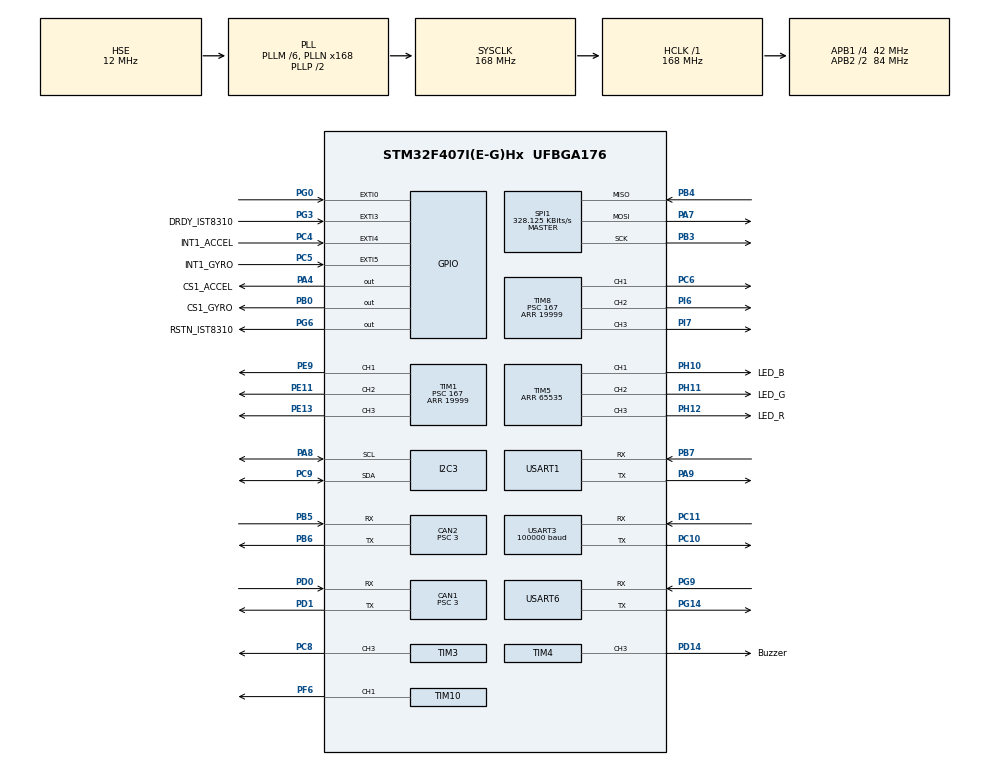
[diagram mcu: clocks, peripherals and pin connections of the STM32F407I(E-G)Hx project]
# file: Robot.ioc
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CAN1.BS1=CAN_BS1_10TQ
CAN1.BS2=CAN_BS2_3TQ
CAN1.CalculateBaudRate=1000000
CAN1.CalculateTimeBit=1000
CAN1.CalculateTimeQuantum=71.42857142857143
CAN1.Prescaler=3
CAN2.BS1=CAN_BS1_10TQ
CAN2.BS2=CAN_BS2_3TQ
CAN2.CalculateBaudRate=1000000
CAN2.CalculateTimeBit=1000
CAN2.CalculateTimeQuantum=71.42857142857143
CAN2.Prescaler=3
Dma.Request0=USART3_RX
Dma.Request1=SPI1_RX
Dma.Request2=SPI1_TX
Dma.Request3=USART6_RX
Dma.Request4=USART6_TX
Dma.SPI1_RX.1.Direction=DMA_PERIPH_TO_MEMORY
Dma.SPI1_RX.1.FIFOMode=DMA_FIFOMODE_DISABLE
Dma.SPI1_RX.1.Instance=DMA2_Stream2
Dma.SPI1_RX.1.MemDataAlignment=DMA_MDATAALIGN_BYTE
Dma.SPI1_RX.1.MemInc=DMA_MINC_ENABLE
Dma.SPI1_RX.1.Mode=DMA_NORMAL
Dma.SPI1_RX.1.PeriphDataAlignment=DMA_PDATAALIGN_BYTE
Dma.SPI1_RX.1.PeriphInc=DMA_PINC_DISABLE
Dma.SPI1_RX.1.Priority=DMA_PRIORITY_VERY_HIGH
Dma.SPI1_TX.2.Direction=DMA_MEMORY_TO_PERIPH
Dma.SPI1_TX.2.FIFOMode=DMA_FIFOMODE_DISABLE
Dma.SPI1_TX.2.Instance=DMA2_Stream3
Dma.SPI1_TX.2.MemDataAlignment=DMA_MDATAALIGN_BYTE
Dma.SPI1_TX.2.MemInc=DMA_MINC_ENABLE
Dma.SPI1_TX.2.Mode=DMA_NORMAL
Dma.SPI1_TX.2.PeriphDataAlignment=DMA_PDATAALIGN_BYTE
Dma.SPI1_TX.2.PeriphInc=DMA_PINC_DISABLE
Dma.SPI1_TX.2.Priority=DMA_PRIORITY_HIGH
Dma.USART3_RX.0.Direction=DMA_PERIPH_TO_MEMORY
Dma.USART3_RX.0.FIFOMode=DMA_FIFOMODE_DISABLE
Dma.USART3_RX.0.Instance=DMA1_Stream1
Dma.USART3_RX.0.MemDataAlignment=DMA_MDATAALIGN_BYTE
Dma.USART3_RX.0.MemInc=DMA_MINC_ENABLE
Dma.USART3_RX.0.Mode=DMA_CIRCULAR
Dma.USART3_RX.0.PeriphDataAlignment=DMA_PDATAALIGN_BYTE
Dma.USART3_RX.0.PeriphInc=DMA_PINC_DISABLE
Dma.USART3_RX.0.Priority=DMA_PRIORITY_VERY_HIGH
Dma.USART6_RX.3.Direction=DMA_PERIPH_TO_MEMORY
Dma.USART6_RX.3.FIFOMode=DMA_FIFOMODE_DISABLE
Dma.USART6_RX.3.Instance=DMA2_Stream1
Dma.USART6_RX.3.MemDataAlignment=DMA_MDATAALIGN_BYTE
Dma.USART6_RX.3.MemInc=DMA_MINC_ENABLE
Dma.USART6_RX.3.Mode=DMA_NORMAL
Dma.USART6_RX.3.PeriphDataAlignment=DMA_PDATAALIGN_BYTE
Dma.USART6_RX.3.PeriphInc=DMA_PINC_DISABLE
Dma.USART6_RX.3.Priority=DMA_PRIORITY_HIGH
Dma.USART6_TX.4.Direction=DMA_MEMORY_TO_PERIPH
Dma.USART6_TX.4.FIFOMode=DMA_FIFOMODE_DISABLE
Dma.USART6_TX.4.Instance=DMA2_Stream6
Dma.USART6_TX.4.MemDataAlignment=DMA_MDATAALIGN_BYTE
Dma.USART6_TX.4.MemInc=DMA_MINC_ENABLE
Dma.USART6_TX.4.Mode=DMA_NORMAL
Dma.USART6_TX.4.PeriphDataAlignment=DMA_PDATAALIGN_BYTE
Dma.USART6_TX.4.PeriphInc=DMA_PINC_DISABLE
Dma.USART6_TX.4.Priority=DMA_PRIORITY_MEDIUM
FREERTOS.INCLUDE_eTaskGetState=1
FREERTOS.INCLUDE_pcTaskGetTaskName=1
FREERTOS.INCLUDE_uxTaskGetStackHighWaterMark=1
FREERTOS.INCLUDE_uxTaskGetStackHighWaterMark2=1
FREERTOS.INCLUDE_vTaskCleanUpResources=1
FREERTOS.INCLUDE_vTaskDelayUntil=1
FREERTOS.INCLUDE_xQueueGetMutexHolder=1
FREERTOS.INCLUDE_xSemaphoreGetMutexHolder=1
FREERTOS.INCLUDE_xTaskAbortDelay=1
FREERTOS.INCLUDE_xTaskGetCurrentTaskHandle=1
FREERTOS.INCLUDE_xTaskGetHandle=1
FREERTOS.Tasks01=defaultTask,0,128,default_task,As weak,NULL,Dynamic,NULL,NULL;insTask,3,1024,ins_task,As weak,NULL,Dynamic,NULL,NULL;PID_TASK,2,1024,pid_comtrol_task,As external,NULL,Dynamic,NULL,NULL
I2C3.I2C_Mode=I2C_Fast
Mcu.Family=STM32F4
Mcu.Name=STM32F407I(E-G)Hx
Mcu.Package=UFBGA176
NVIC.CAN1_RX0_IRQn=true\:5\:0\:false\:false\:true\:true\:true\:true\:true
NVIC.CAN2_RX0_IRQn=true\:5\:0\:false\:false\:true\:true\:true\:true\:true
NVIC.DMA1_Stream1_IRQn=true\:5\:0\:false\:false\:false\:true\:false\:true\:true
NVIC.DMA2_Stream1_IRQn=true\:5\:0\:false\:false\:true\:true\:false\:true\:true
NVIC.DMA2_Stream2_IRQn=true\:5\:0\:false\:false\:false\:false\:false\:true\:true
NVIC.DMA2_Stream3_IRQn=true\:5\:0\:false\:false\:false\:true\:false\:true\:true
NVIC.DMA2_Stream6_IRQn=true\:5\:0\:false\:false\:true\:true\:false\:true\:true
NVIC.EXTI0_IRQn=true\:5\:0\:false\:false\:true\:true\:true\:true\:true
NVIC.EXTI3_IRQn=true\:5\:0\:false\:false\:true\:true\:true\:true\:true
NVIC.EXTI4_IRQn=true\:5\:0\:false\:false\:true\:true\:true\:true\:true
NVIC.EXTI9_5_IRQn=true\:5\:0\:false\:false\:true\:true\:true\:true\:true
NVIC.PriorityGroup=NVIC_PRIORITYGROUP_4
NVIC.TIM8_TRG_COM_TIM14_IRQn=true\:15\:0\:false\:false\:true\:false\:false\:true\:true
NVIC.TimeBase=TIM8_TRG_COM_TIM14_IRQn
NVIC.TimeBaseIP=TIM14
NVIC.USART1_IRQn=true\:5\:0\:false\:false\:false\:true\:true\:true\:true
NVIC.USART3_IRQn=true\:5\:0\:false\:false\:false\:true\:true\:true\:true
NVIC.USART6_IRQn=true\:5\:0\:false\:false\:false\:true\:true\:true\:true
PA13.Mode=Serial_Wire
PA13.Signal=SYS_JTMS-SWDIO
PA14.Mode=Serial_Wire
PA14.Signal=SYS_JTCK-SWCLK
PA4.GPIO_Label=CS1_ACCEL
PA4.GPIO_PuPd=GPIO_PULLUP
PA4.GPIO_Speed=GPIO_SPEED_FREQ_HIGH
PA4.PinState=GPIO_PIN_SET
PA4.Signal=GPIO_Output
PA7.GPIO_PuPd=GPIO_PULLUP
PA7.Mode=Full_Duplex_Master
PA7.Signal=SPI1_MOSI
PA8.GPIO_Pu=GPIO_PULLUP
PA8.Mode=I2C
PA8.Signal=I2C3_SCL
PA9.Mode=Asynchronous
PA9.Signal=USART1_TX
PB0.GPIO_Label=CS1_GYRO
PB0.GPIO_PuPd=GPIO_PULLUP
PB0.GPIO_Speed=GPIO_SPEED_FREQ_HIGH
PB0.PinState=GPIO_PIN_SET
PB0.Signal=GPIO_Output
PB3.GPIO_PuPd=GPIO_PULLUP
PB3.Mode=Full_Duplex_Master
PB3.Signal=SPI1_SCK
PB4.GPIO_PuPd=GPIO_PULLUP
PB4.Mode=Full_Duplex_Master
PB4.Signal=SPI1_MISO
PB5.Mode=CAN_Activate
PB5.Signal=CAN2_RX
PB6.Mode=CAN_Activate
PB6.Signal=CAN2_TX
PB7.Mode=Asynchronous
PB7.Signal=USART1_RX
PC10.Mode=Asynchronous
PC10.Signal=USART3_TX
PC11.Mode=Asynchronous
PC11.Signal=USART3_RX
PC4.GPIO_Label=INT1_ACCEL
PC4.GPIO_PuPd=GPIO_PULLUP
PC4.Signal=GPXTI4
PC5.GPIO_Label=INT1_GYRO
PC5.GPIO_PuPd=GPIO_PULLUP
PC5.Signal=GPXTI5
PC6.Signal=S_TIM8_CH1
PC8.Signal=S_TIM3_CH3
PC9.GPIO_Pu=GPIO_PULLUP
PC9.Mode=I2C
PC9.Signal=I2C3_SDA
PD0.Mode=CAN_Activate
PD0.Signal=CAN1_RX
PD1.Mode=CAN_Activate
PD1.Signal=CAN1_TX
PD14.GPIO_Label=Buzzer
PD14.Signal=S_TIM4_CH3
PE11.Signal=S_TIM1_CH2
PE13.Signal=S_TIM1_CH3
PE9.Signal=S_TIM1_CH1
PF6.GPIO_Speed=GPIO_SPEED_FREQ_HIGH
PF6.Signal=S_TIM10_CH1
PG0.GPIO_PuPd=GPIO_PULLUP
PG0.Signal=GPXTI0
PG14.Mode=Asynchronous
PG14.Signal=USART6_TX
PG3.GPIO_Label=DRDY_IST8310
PG3.GPIO_PuPd=GPIO_PULLUP
PG3.Signal=GPXTI3
PG6.GPIO_Label=RSTN_IST8310
PG6.GPIO_PuPd=GPIO_PULLUP
PG6.GPIO_Speed=GPIO_SPEED_FREQ_MEDIUM
PG6.PinState=GPIO_PIN_SET
PG6.Signal=GPIO_Output
PG9.Mode=Asynchronous
PG9.Signal=USART6_RX
PH0-OSC_IN.Mode=HSE-External-Oscillator
PH0-OSC_IN.Signal=RCC_OSC_IN
PH1-OSC_OUT.Mode=HSE-External-Oscillator
PH1-OSC_OUT.Signal=RCC_OSC_OUT
PH10.GPIO_Label=LED_B
PH10.GPIO_Speed=GPIO_SPEED_FREQ_HIGH
PH10.Signal=S_TIM5_CH1
PH11.GPIO_Label=LED_G
PH11.GPIO_Speed=GPIO_SPEED_FREQ_HIGH
PH11.Signal=S_TIM5_CH2
PH12.GPIO_Label=LED_R
PH12.GPIO_Speed=GPIO_SPEED_FREQ_HIGH
PH12.Signal=S_TIM5_CH3
PI6.Signal=S_TIM8_CH2
PI7.Signal=S_TIM8_CH3
ProjectManager.HeapSize=0x200
ProjectManager.StackSize=0x400
ProjectManager.TargetToolchain=MDK-ARM V5.32
RCC.48MHZClocksFreq_Value=84000000
RCC.AHBFreq_Value=168000000
RCC.APB1CLKDivider=RCC_HCLK_DIV4
RCC.APB1Freq_Value=42000000
RCC.APB1TimFreq_Value=84000000
RCC.APB2CLKDivider=RCC_HCLK_DIV2
RCC.APB2Freq_Value=84000000
RCC.APB2TimFreq_Value=168000000
RCC.CortexFreq_Value=168000000
RCC.HCLKFreq_Value=168000000
RCC.HSE_VALUE=12000000
RCC.HSI_VALUE=16000000
RCC.LSE_VALUE=32768
RCC.PLLM=6
RCC.PLLN=168
RCC.PLLSourceVirtual=RCC_PLLSOURCE_HSE
RCC.SYSCLKFreq_VALUE=168000000
RCC.SYSCLKSource=RCC_SYSCLKSOURCE_PLLCLK
RCC.VCOOutputFreq_Value=336000000
SH.S_TIM10_CH1.0=TIM10_CH1,PWM Generation1 CH1
SH.S_TIM1_CH1.0=TIM1_CH1,PWM Generation1 CH1
SH.S_TIM1_CH2.0=TIM1_CH2,PWM Generation2 CH2
SH.S_TIM1_CH3.0=TIM1_CH3,PWM Generation3 CH3
SH.S_TIM3_CH3.0=TIM3_CH3,PWM Generation3 CH3
SH.S_TIM4_CH3.0=TIM4_CH3,PWM Generation3 CH3
SH.S_TIM5_CH1.0=TIM5_CH1,PWM Generation1 CH1
SH.S_TIM5_CH2.0=TIM5_CH2,PWM Generation2 CH2
SH.S_TIM5_CH3.0=TIM5_CH3,PWM Generation3 CH3
SH.S_TIM8_CH1.0=TIM8_CH1,PWM Generation1 CH1
SH.S_TIM8_CH2.0=TIM8_CH2,PWM Generation2 CH2
SH.S_TIM8_CH3.0=TIM8_CH3,PWM Generation3 CH3
SPI1.BaudRatePrescaler=SPI_BAUDRATEPRESCALER_256
SPI1.CLKPhase=SPI_PHASE_2EDGE
SPI1.CLKPolarity=SPI_POLARITY_HIGH
SPI1.CalculateBaudRate=328.125 KBits/s
SPI1.Direction=SPI_DIRECTION_2LINES
SPI1.Mode=SPI_MODE_MASTER
SPI1.VirtualType=VM_MASTER
TIM1.Channel-PWM\ Generation1\ CH1=TIM_CHANNEL_1
TIM1.Channel-PWM\ Generation2\ CH2=TIM_CHANNEL_2
TIM1.Channel-PWM\ Generation3\ CH3=TIM_CHANNEL_3
TIM1.Period=19999
TIM1.Prescaler=167
TIM10.Channel=TIM_CHANNEL_1
TIM10.Period=4999
TIM3.Channel-PWM\ Generation3\ CH3=TIM_CHANNEL_3
TIM3.Period=8399
TIM4.Channel-PWM\ Generation3\ CH3=TIM_CHANNEL_3
TIM4.Period=20999
TIM5.Channel-PWM\ Generation1\ CH1=TIM_CHANNEL_1
TIM5.Channel-PWM\ Generation2\ CH2=TIM_CHANNEL_2
TIM5.Channel-PWM\ Generation3\ CH3=TIM_CHANNEL_3
TIM5.Period=65535
TIM8.Channel-PWM\ Generation1\ CH1=TIM_CHANNEL_1
TIM8.Channel-PWM\ Generation2\ CH2=TIM_CHANNEL_2
TIM8.Channel-PWM\ Generation3\ CH3=TIM_CHANNEL_3
TIM8.Period=19999
TIM8.Prescaler=167
USART1.VirtualMode=VM_ASYNC
USART3.BaudRate=100000
USART3.Mode=MODE_RX
USART3.Parity=PARITY_EVEN
USART3.VirtualMode=VM_ASYNC
USART6.VirtualMode=VM_ASYNC
VP_CRC_VS_CRC.Mode=CRC_Activate
VP_FREERTOS_VS_CMSIS_V1.Mode=CMSIS_V1
VP_SYS_VS_tim14.Mode=TIM14
VP_TIM10_VS_ClockSourceINT.Mode=Enable_Timer
VP_TIM1_VS_ClockSourceINT.Mode=Internal
VP_TIM3_VS_ClockSourceINT.Mode=Internal
VP_TIM4_VS_ClockSourceINT.Mode=Internal
VP_TIM5_VS_ClockSourceINT.Mode=Internal
VP_TIM8_VS_ClockSourceINT.Mode=Internal
board=custom

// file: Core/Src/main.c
/* USER CODE BEGIN Header */
/**
  ******************************************************************************
  * @file           : main.c
  * @brief          : Main program body
  ******************************************************************************
  * @attention
  *
  * Copyright (c) 2023 STMicroelectronics.
  * All rights reserved.
  *
  * This software is licensed under terms that can be found in the LICENSE file
  * in the root directory of this software component.
  * If no LICENSE file comes with this software, it is provided AS-IS.
  *
  ******************************************************************************
  */
/* USER CODE END Header */
#include "main.h"
#include "cmsis_os.h"
#include "can.h"
#include "crc.h"
#include "dma.h"
#include "i2c.h"
#include "spi.h"
#include "tim.h"
#include "usart.h"
#include "gpio.h"

/* USER CODE BEGIN Includes */
#include "remote_control.h"
#include "bsp_buzzer.h"
#include "bsp_can.h"
#include "vision.h"
/* USER CODE END Includes */

void SystemClock_Config(void);
void MX_FREERTOS_Init(void);

int main(void)
{

  /* MCU Configuration--------------------------------------------------------*/

  /* Reset of all peripherals, Initializes the Flash interface and the Systick. */
  HAL_Init();

  /* Configure the system clock */
  SystemClock_Config();

  /* Initialize all configured peripherals */
  MX_GPIO_Init();
  MX_DMA_Init();
  MX_USART3_UART_Init();
  MX_TIM5_Init();
  MX_TIM4_Init();
  MX_CAN1_Init();
  MX_CAN2_Init();
  MX_TIM1_Init();
  MX_TIM8_Init();
  MX_I2C3_Init();
  MX_SPI1_Init();
  MX_TIM10_Init();
  MX_CRC_Init();
  MX_USART6_UART_Init();
  MX_TIM3_Init();
  MX_USART1_UART_Init();
  /* USER CODE BEGIN 2 */
	remote_control_init();
	buzzer_init();
	can_filter_init();
	HAL_TIM_Base_Start(&htim1);
	HAL_TIM_PWM_Start(&htim1, TIM_CHANNEL_1);
	HAL_TIM_PWM_Start(&htim1, TIM_CHANNEL_2);
	HAL_TIM_Base_Start(&htim3);
	HAL_TIM_PWM_Start(&htim3, TIM_CHANNEL_3);//激光pwm输出通道
	usart1_vision_init();

  /* USER CODE END 2 */

  /* Call init function for freertos objects (in cmsis_os2.c) */
  MX_FREERTOS_Init();

  /* Start scheduler */
  osKernelStart();

  /* We should never get here as control is now taken by the scheduler */

  /* Infinite loop */
  while (1)
  {

  }
}

void SystemClock_Config(void)
{
  RCC_OscInitTypeDef RCC_OscInitStruct = {0};
  RCC_ClkInitTypeDef RCC_ClkInitStruct = {0};

  /** Configure the main internal regulator output voltage
  */
  __HAL_RCC_PWR_CLK_ENABLE();
  __HAL_PWR_VOLTAGESCALING_CONFIG(PWR_REGULATOR_VOLTAGE_SCALE1);

  /** Initializes the RCC Oscillators according to the specified parameters
  * in the RCC_OscInitTypeDef structure.
  */
  RCC_OscInitStruct.OscillatorType = RCC_OSCILLATORTYPE_HSE;
  RCC_OscInitStruct.HSEState = RCC_HSE_ON;
  RCC_OscInitStruct.PLL.PLLState = RCC_PLL_ON;
  RCC_OscInitStruct.PLL.PLLSource = RCC_PLLSOURCE_HSE;
  RCC_OscInitStruct.PLL.PLLM = 6;
  RCC_OscInitStruct.PLL.PLLN = 168;
  RCC_OscInitStruct.PLL.PLLP = RCC_PLLP_DIV2;
  RCC_OscInitStruct.PLL.PLLQ = 4;
  if (HAL_RCC_OscConfig(&RCC_OscInitStruct) != HAL_OK)
  {
    Error_Handler();
  }

  /** Initializes the CPU, AHB and APB buses clocks
  */
  RCC_ClkInitStruct.ClockType = RCC_CLOCKTYPE_HCLK|RCC_CLOCKTYPE_SYSCLK
                              |RCC_CLOCKTYPE_PCLK1|RCC_CLOCKTYPE_PCLK2;
  RCC_ClkInitStruct.SYSCLKSource = RCC_SYSCLKSOURCE_PLLCLK;
  RCC_ClkInitStruct.AHBCLKDivider = RCC_SYSCLK_DIV1;
  RCC_ClkInitStruct.APB1CLKDivider = RCC_HCLK_DIV4;
  RCC_ClkInitStruct.APB2CLKDivider = RCC_HCLK_DIV2;

  if (HAL_RCC_ClockConfig(&RCC_ClkInitStruct, FLASH_LATENCY_5) != HAL_OK)
  {
    Error_Handler();
  }
}

void HAL_TIM_PeriodElapsedCallback(TIM_HandleTypeDef *htim)
{
  if (htim->Instance == TIM14)
  {
    HAL_IncTick();
  }
}

void Error_Handler(void)
{
  __disable_irq();
  while (1)
  {
  }
}

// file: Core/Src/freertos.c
/* USER CODE BEGIN Header */
/**
  ******************************************************************************
  * File Name          : freertos.c
  * Description        : Code for freertos applications
  ******************************************************************************
  * @attention
  *
  * Copyright (c) 2023 STMicroelectronics.
  * All rights reserved.
  *
  * This software is licensed under terms that can be found in the LICENSE file
  * in the root directory of this software component.
  * If no LICENSE file comes with this software, it is provided AS-IS.
  *
  ******************************************************************************
  */
/* USER CODE END Header */

#include "FreeRTOS.h"
#include "task.h"
#include "main.h"
#include "cmsis_os.h"

/* USER CODE BEGIN Includes */
extern void INS_task(void );
extern void  pid_control_task(void const * argument);
/* USER CODE END Includes */

osThreadId defaultTaskHandle;
osThreadId insTaskHandle;
osThreadId PID_TASKHandle;

void default_task(void const * argument);
void ins_task(void const * argument);
extern void pid_control_task(void const * argument);

void MX_FREERTOS_Init(void); /* (MISRA C 2004 rule 8.1) */

/* GetIdleTaskMemory prototype (linked to static allocation support) */
void vApplicationGetIdleTaskMemory( StaticTask_t **ppxIdleTaskTCBBuffer, StackType_t **ppxIdleTaskStackBuffer, uint32_t *pulIdleTaskStackSize );

/* USER CODE BEGIN GET_IDLE_TASK_MEMORY */
static StaticTask_t xIdleTaskTCBBuffer;
static StackType_t xIdleStack[configMINIMAL_STACK_SIZE];

void vApplicationGetIdleTaskMemory( StaticTask_t **ppxIdleTaskTCBBuffer, StackType_t **ppxIdleTaskStackBuffer, uint32_t *pulIdleTaskStackSize )
{
  *ppxIdleTaskTCBBuffer = &xIdleTaskTCBBuffer;
  *ppxIdleTaskStackBuffer = &xIdleStack[0];
  *pulIdleTaskStackSize = configMINIMAL_STACK_SIZE;
  /* place for user code */
}
/* USER CODE END GET_IDLE_TASK_MEMORY */

void MX_FREERTOS_Init(void) {

  /* Create the thread(s) */
  /* definition and creation of defaultTask */
  osThreadDef(defaultTask, default_task, osPriorityNormal, 0, 128);
  defaultTaskHandle = osThreadCreate(osThread(defaultTask), NULL);

  /* definition and creation of insTask */
  osThreadDef(insTask, ins_task, osPriorityRealtime, 0, 1024);
  insTaskHandle = osThreadCreate(osThread(insTask), NULL);

  /* definition and creation of PID_TASK */
  osThreadDef(PID_TASK, pid_control_task, osPriorityHigh, 0, 1024);
  PID_TASKHandle = osThreadCreate(osThread(PID_TASK), NULL);

}

__weak void default_task(void const * argument)
{
  for(;;)
  {
    osDelay(1);
  }
}

__weak void ins_task(void const * argument)
{
  /* USER CODE BEGIN ins_task */
  /* Infinite loop */
  for(;;)
  {
    INS_task();
  }
  /* USER CODE END ins_task */
}
